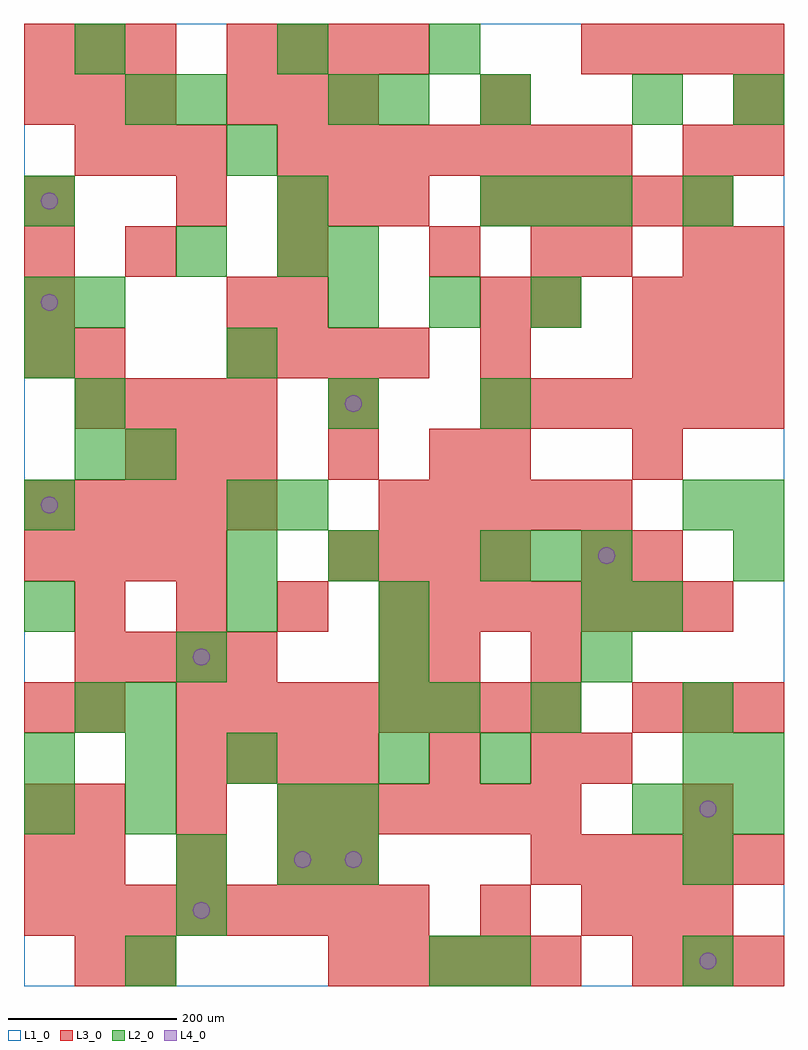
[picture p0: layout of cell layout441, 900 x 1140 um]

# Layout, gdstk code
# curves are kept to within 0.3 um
import gdstk
lib = gdstk.Library(unit=1e-6, precision=1e-09)
def R(c, l, rs):  # rectangles x0, y0, x1, y1
    for r in rs: c.add(gdstk.rectangle(r[:2], r[2:], *l))
def A(c, l, x, y, w, h, nx, ny, dx, dy):  # array of equal rectangles
    R(c, l, [(x+i*dx, y+j*dy, x+i*dx+w, y+j*dy+h) for i in range(nx) for j in range(ny)])
def P(c, l, *ps):  # polygons
    for p in ps: c.add(gdstk.Polygon(p, *l))
L1_0 = (1, 0)
L2_0 = (2, 0)
L3_0 = (3, 0)
L4_0 = (4, 0)

layout441 = lib.new_cell('layout441')
R(layout441, L1_0, [(0,0,900,1140)])
A(layout441, L2_0, 780, 0, 60, 60, 1, 3, 0, 120)
A(layout441, L2_0, 720, 180, 60, 60, 3, 1, 60, 0)
A(layout441, L2_0, 0, 240, 60, 60, 3, 1, 120, 0)
A(layout441, L2_0, 180, 360, 60, 60, 3, 1, 240, 0)
A(layout441, L2_0, 240, 420, 60, 60, 1, 3, 0, 60)
A(layout441, L2_0, 360, 480, 60, 60, 1, 4, 0, 180)
A(layout441, L2_0, 540, 480, 60, 60, 3, 2, 60, 420)
A(layout441, L2_0, 360, 780, 60, 60, 3, 1, 120, 0)
R(layout441, L2_0, [(120,0,180,60), (480,0,540,60), (540,0,600,60), (180,60,240,120), (180,120,240,180), (300,120,360,180), (360,120,420,180), (0,180,60,240), (120,180,180,240), (300,180,360,240), (360,180,420,240), (420,240,480,300), (540,240,600,300), (840,240,900,300), (60,300,120,360), (120,300,180,360), (420,300,480,360), (480,300,540,360), (600,300,660,360), (780,300,840,360), (0,420,60,480), (420,420,480,480), (660,420,720,480), (720,420,780,480), (840,480,900,540), (0,540,60,600), (300,540,360,600), (780,540,840,600), (840,540,900,600), (60,600,120,660), (120,600,180,660), (60,660,120,720), (540,660,600,720), (0,720,60,780), (240,720,300,780), (0,780,60,840), (60,780,120,840), (180,840,240,900), (300,840,360,900), (0,900,60,960), (300,900,360,960), (780,900,840,960), (240,960,300,1020), (120,1020,180,1080), (180,1020,240,1080), (420,1020,480,1080), (540,1020,600,1080), (720,1020,780,1080), (840,1020,900,1080), (60,1080,120,1140), (300,1080,360,1140), (480,1080,540,1140)])
A(layout441, L3_0, 360, 0, 60, 60, 5, 2, 60, 180)
A(layout441, L3_0, 720, 0, 60, 60, 3, 2, 60, 300)
A(layout441, L3_0, 0, 60, 60, 60, 8, 1, 60, 0)
A(layout441, L3_0, 660, 60, 60, 60, 3, 1, 60, 0)
A(layout441, L3_0, 60, 120, 60, 60, 3, 2, 120, 60)
A(layout441, L3_0, 600, 120, 60, 60, 5, 1, 60, 0)
A(layout441, L3_0, 180, 240, 60, 60, 4, 1, 60, 0)
A(layout441, L3_0, 180, 300, 60, 60, 8, 1, 60, 0)
A(layout441, L3_0, 60, 360, 60, 60, 4, 2, 60, 300)
A(layout441, L3_0, 60, 420, 60, 60, 4, 1, 120, 0)
A(layout441, L3_0, 480, 420, 60, 60, 6, 1, 60, 0)
A(layout441, L3_0, 0, 480, 60, 60, 4, 1, 60, 0)
A(layout441, L3_0, 360, 480, 60, 60, 4, 1, 60, 0)
A(layout441, L3_0, 0, 540, 60, 60, 5, 1, 60, 0)
A(layout441, L3_0, 420, 540, 60, 60, 5, 1, 60, 0)
A(layout441, L3_0, 120, 600, 60, 60, 3, 1, 60, 0)
A(layout441, L3_0, 540, 660, 60, 60, 6, 1, 60, 0)
A(layout441, L3_0, 0, 720, 60, 60, 1, 4, 0, 60)
A(layout441, L3_0, 240, 720, 60, 60, 4, 2, 60, 360)
A(layout441, L3_0, 720, 720, 60, 60, 3, 2, 60, 60)
A(layout441, L3_0, 120, 840, 60, 60, 3, 1, 180, 0)
A(layout441, L3_0, 300, 900, 60, 60, 3, 1, 60, 0)
A(layout441, L3_0, 540, 900, 60, 60, 5, 1, 60, 0)
A(layout441, L3_0, 60, 960, 60, 60, 3, 1, 60, 0)
A(layout441, L3_0, 300, 960, 60, 60, 7, 1, 60, 0)
A(layout441, L3_0, 0, 1020, 60, 60, 3, 2, 60, 60)
A(layout441, L3_0, 240, 1020, 60, 60, 3, 1, 60, 0)
A(layout441, L3_0, 660, 1080, 60, 60, 4, 1, 60, 0)
R(layout441, L3_0, [(60,0,120,60), (120,0,180,60), (540,60,600,120), (0,120,60,180), (360,120,420,180), (0,180,60,240), (780,180,840,240), (480,240,540,300), (600,240,660,300), (660,240,720,300), (0,300,60,360), (60,300,120,360), (420,360,480,420), (480,360,540,420), (600,360,660,420), (660,480,720,540), (720,480,780,540), (360,600,420,660), (480,600,540,660), (540,600,600,660), (720,600,780,660), (360,660,420,720), (60,720,120,780), (540,720,600,780), (240,780,300,840), (300,780,360,840), (540,780,600,840), (600,780,660,840), (600,840,660,900), (660,840,720,900), (780,840,840,900), (840,840,900,900), (180,900,240,960), (780,960,840,1020), (840,960,900,1020), (540,1020,600,1080), (840,1020,900,1080)])
P(layout441, L4_0, [(40,570),(39.239,573.827),(37.071,577.071),(33.827,579.239),(30,580),(26.173,579.239),(22.929,577.071),(20.761,573.827),(20,570),(20.761,566.173),(22.929,562.929),(26.173,560.761),(30,560),(33.827,560.761),(37.071,562.929),(39.239,566.173)],
  [(40,810),(39.239,813.827),(37.071,817.071),(33.827,819.239),(30,820),(26.173,819.239),(22.929,817.071),(20.761,813.827),(20,810),(20.761,806.173),(22.929,802.929),(26.173,800.761),(30,800),(33.827,800.761),(37.071,802.929),(39.239,806.173)],
  [(40,930),(39.239,933.827),(37.071,937.071),(33.827,939.239),(30,940),(26.173,939.239),(22.929,937.071),(20.761,933.827),(20,930),(20.761,926.173),(22.929,922.929),(26.173,920.761),(30,920),(33.827,920.761),(37.071,922.929),(39.239,926.173)],
  [(220,90),(219.239,93.827),(217.071,97.071),(213.827,99.239),(210,100),(206.173,99.239),(202.929,97.071),(200.761,93.827),(200,90),(200.761,86.173),(202.929,82.929),(206.173,80.761),(210,80),(213.827,80.761),(217.071,82.929),(219.239,86.173)],
  [(220,390),(219.239,393.827),(217.071,397.071),(213.827,399.239),(210,400),(206.173,399.239),(202.929,397.071),(200.761,393.827),(200,390),(200.761,386.173),(202.929,382.929),(206.173,380.761),(210,380),(213.827,380.761),(217.071,382.929),(219.239,386.173)],
  [(340,150),(339.239,153.827),(337.071,157.071),(333.827,159.239),(330,160),(326.173,159.239),(322.929,157.071),(320.761,153.827),(320,150),(320.761,146.173),(322.929,142.929),(326.173,140.761),(330,140),(333.827,140.761),(337.071,142.929),(339.239,146.173)],
  [(400,150),(399.239,153.827),(397.071,157.071),(393.827,159.239),(390,160),(386.173,159.239),(382.929,157.071),(380.761,153.827),(380,150),(380.761,146.173),(382.929,142.929),(386.173,140.761),(390,140),(393.827,140.761),(397.071,142.929),(399.239,146.173)],
  [(400,690),(399.239,693.827),(397.071,697.071),(393.827,699.239),(390,700),(386.173,699.239),(382.929,697.071),(380.761,693.827),(380,690),(380.761,686.173),(382.929,682.929),(386.173,680.761),(390,680),(393.827,680.761),(397.071,682.929),(399.239,686.173)],
  [(700,510),(699.239,513.827),(697.071,517.071),(693.827,519.239),(690,520),(686.173,519.239),(682.929,517.071),(680.761,513.827),(680,510),(680.761,506.173),(682.929,502.929),(686.173,500.761),(690,500),(693.827,500.761),(697.071,502.929),(699.239,506.173)],
  [(820,30),(819.239,33.827),(817.071,37.071),(813.827,39.239),(810,40),(806.173,39.239),(802.929,37.071),(800.761,33.827),(800,30),(800.761,26.173),(802.929,22.929),(806.173,20.761),(810,20),(813.827,20.761),(817.071,22.929),(819.239,26.173)],
  [(820,210),(819.239,213.827),(817.071,217.071),(813.827,219.239),(810,220),(806.173,219.239),(802.929,217.071),(800.761,213.827),(800,210),(800.761,206.173),(802.929,202.929),(806.173,200.761),(810,200),(813.827,200.761),(817.071,202.929),(819.239,206.173)])

lib.write_gds('layout441.gds')
